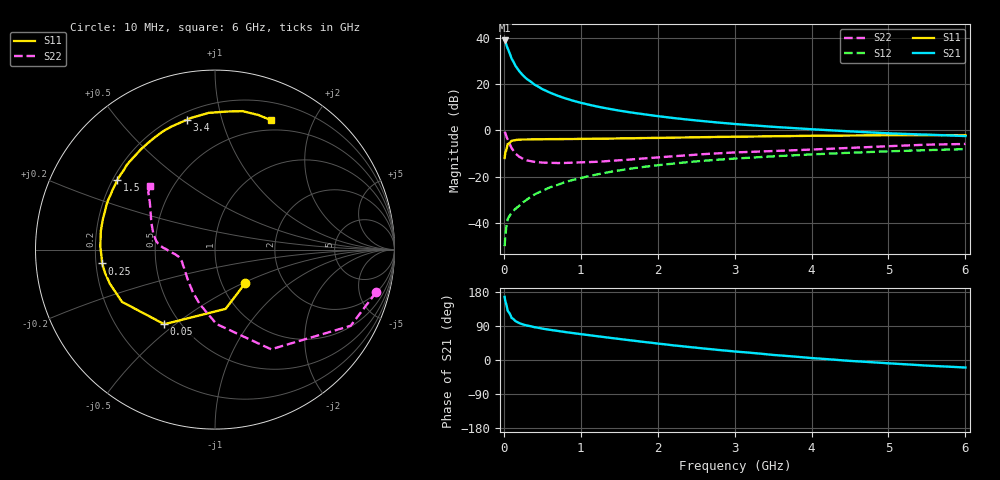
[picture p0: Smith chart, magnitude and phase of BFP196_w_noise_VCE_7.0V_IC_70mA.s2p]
! (c) 2017  Infineon Technologies AG, Munich
! Infineon Technologies  Discrete & RF Semiconductors
! BFP196
! VCE =  7.0 V,  IC =  70 mA
! Common Emitter S-Parameters:  Jan 2017
# GHz  S  MA  R  50
!  f  S11  S21  S12  S22
! GHz  MAG  ANG  MAG  ANG  MAG  ANG  MAG  ANG
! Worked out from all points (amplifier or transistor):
!   77 points, 10 MHz to 6 GHz, reference 50 ohm
!   highest |S21| = 38.9 dB at 10 MHz (marker M1)
!   |S21| within 3 dB of that: start of sweep to 44.77 MHz
!   unconditionally stable (mu >= 1): 486.8 MHz to 2.425 GHz
!   at 130 MHz: K = 0.67, MSG = 32.0 dB, |S12| = -34.7 dB
!   at 2.2 GHz: K = 1.01, MAG = 9.3 dB, |S12| = -14.4 dB
!   at 6 GHz: K = 0.95, MSG = 2.8 dB, |S12| = -8.1 dB
!   lowest NFmin = 1.68 dB at 450 MHz
!   S11 on the Smith chart (normalised r, x): 10 MHz: 1.29, -0.51; 50 MHz: 0.41, -0.46; 250 MHz: 0.23, -0.06; 1.5 GHz: 0.22, +0.31; 3.4 GHz: 0.24, +0.78; 6 GHz: 0.39, +1.45
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0.01  0.2514 -47.7  88.35 166.5  0.0031 78.7  0.9291 -14.8
0.02  0.3353 -79.8  83.38 154.6  0.0054 73.9  0.8669 -29.3
0.05  0.5028 -124.2  59.23 129.7  0.012 55.9  0.6374 -60.6
0.1  0.5945 -150.7  35.97 111.2  0.0162 56.0  0.4146 -88.9
0.15  0.6158 -162.0  25.06 102.8  0.0199 56.4  0.3159 -105.5
0.2  0.6265 -168.2  19.13 97.5  0.0232 59.9  0.2682 -117.3
0.25  0.6335 -173.0  15.41 93.7  0.0276 62.1  0.2406 -125.7
0.3  0.6335 -176.4  12.89 91.0  0.0316 64.4  0.2239 -133.1
0.4  0.639 178.6  9.762 86.5  0.0409 67.2  0.2074 -142.7
0.5  0.6408 174.2  7.816 82.8  0.049 67.9  0.2003 -149.4
0.6  0.6446 170.5  6.552 79.6  0.0583 68.1  0.198 -154.7
0.7  0.6452 167.4  5.616 76.8  0.066 68.3  0.1959 -158.6
0.9  0.6484 161.2  4.375 71.0  0.0846 66.9  0.1996 -163.8
1.1  0.6562 155.4  3.607 65.8  0.1017 65.1  0.2051 -167.9
1.5  0.6682 144.5  2.67 55.6  0.1354 60.5  0.2248 -173.7
2.1  0.6898 128.7  1.939 41.2  0.1826 52.3  0.2663 -179.7
2.6  0.7111 117.5  1.576 30.3  0.2192 45.4  0.3054 175.9
3.1  0.7294 107.6  1.334 20.9  0.2497 38.7  0.3367 170.0
3.4  0.7404 102.2  1.225 15.4  0.2674 35.0  0.3512 166.2
4.1  0.7634 91.1  1.034 3.7  0.306 26.4  0.3898 155.7
5.1  0.7861 77.4  0.849 -9.9  0.3551 14.8  0.4602 142.6
6  0.7858 66.5  0.751 -19.9  0.3921 4.8  0.5068 135.8
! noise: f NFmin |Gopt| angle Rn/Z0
0.45  1.68  0.46  -172  0.06
0.9  1.84  0.5  -159  0.09
1.9  2.66  0.69  -131  0.36
2.4  3.05  0.7  -117  0.79
